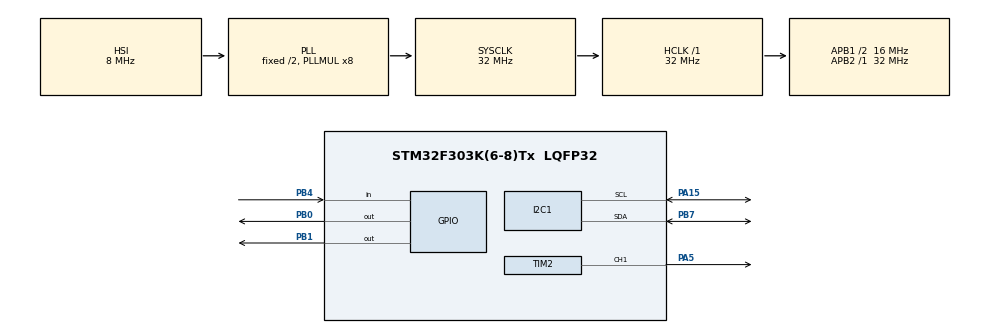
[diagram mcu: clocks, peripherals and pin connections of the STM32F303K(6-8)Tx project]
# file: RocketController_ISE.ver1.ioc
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Mcu.Family=STM32F3
Mcu.Name=STM32F303K(6-8)Tx
Mcu.Package=LQFP32
NVIC.PriorityGroup=NVIC_PRIORITYGROUP_4
PA0.Mode=SYS_WakeUp0
PA0.Signal=SYS_WKUP1
PA13.Mode=Trace_Asynchronous_SW
PA13.Signal=SYS_JTMS-SWDIO
PA14.Mode=Trace_Asynchronous_SW
PA14.Signal=SYS_JTCK-SWCLK
PA15.GPIO_Pu=GPIO_PULLUP
PA15.Mode=I2C
PA15.Signal=I2C1_SCL
PA5.Signal=S_TIM2_CH1_ETR
PB0.Signal=GPIO_Output
PB1.Signal=GPIO_Output
PB3.Mode=Trace_Asynchronous_SW
PB3.Signal=SYS_JTDO-TRACESWO
PB4.Signal=GPIO_Input
PB7.GPIO_Pu=GPIO_PULLUP
PB7.Mode=I2C
PB7.Signal=I2C1_SDA
ProjectManager.HeapSize=0x200
ProjectManager.StackSize=0x400
ProjectManager.TargetToolchain=STM32CubeIDE
RCC.AHBFreq_Value=32000000
RCC.APB1CLKDivider=RCC_HCLK_DIV2
RCC.APB1Freq_Value=16000000
RCC.APB1TimFreq_Value=32000000
RCC.APB2Freq_Value=32000000
RCC.APB2TimFreq_Value=32000000
RCC.CortexFreq_Value=32000000
RCC.HCLKFreq_Value=32000000
RCC.HSE_VALUE=8000000
RCC.HSI_VALUE=8000000
RCC.PLLMUL=RCC_PLL_MUL8
RCC.SYSCLKFreq_VALUE=32000000
RCC.SYSCLKSourceVirtual=RCC_SYSCLKSOURCE_PLLCLK
SH.S_TIM2_CH1_ETR.0=TIM2_CH1,PWM Generation1 CH1
TIM2.Channel-PWM\ Generation1\ CH1=TIM_CHANNEL_1
TIM2.Period=1048
TIM2.Prescaler=840
VP_TIM2_VS_ClockSourceINT.Mode=Internal
VP_TIM3_VS_ClockSourceINT.Mode=Internal
board=custom

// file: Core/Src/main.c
/* USER CODE BEGIN Header */
/**
  ******************************************************************************
  * @file           : main.c
  * @brief          : Main program body
  ******************************************************************************
  * @attention
  *
  * Copyright (c) 2024 STMicroelectronics.
  * All rights reserved.
  *
  * This software is licensed under terms that can be found in the LICENSE file
  * in the root directory of this software component.
  * If no LICENSE file comes with this software, it is provided AS-IS.
  *
  ******************************************************************************
  */
/* USER CODE END Header */
#include "main.h"

/* USER CODE BEGIN Includes */
#include "stdio.h"
#include <bmp180.h>
/* USER CODE END Includes */

/* USER CODE BEGIN PM */
#define SAMPLENUM 20

//key parameters
const float refHeightDelta = 10;
const int engineBurnTime = 6.6 * 1000;
const int topReachTime = 16 * 1000;

//motors
//const int closeAngle = 30;
const int openAngle = 35;

int mode =0;

//flightPin
int fpStateArray[SAMPLENUM];
int fpState = 0;

int startTime = 0;
int timeFromLaunch = 0;

//Hight
double SEALEVEL_ALTITUDE = 0;
double altitude = 0;
double filteredAltitude = 0;
double maxAltitude = -1000;
double altitudeArray[SAMPLENUM];

//debug
float A = 0.123;

/* USER CODE END PM */

I2C_HandleTypeDef hi2c1;

TIM_HandleTypeDef htim2;
TIM_HandleTypeDef htim3;

void SystemClock_Config(void);
static void MX_GPIO_Init(void);
static void MX_I2C1_Init(void);
static void MX_TIM2_Init(void);
static void MX_TIM3_Init(void);
/* USER CODE BEGIN PFP */

//judgment
int isLaunched(int FlighPinState);
int isTopReached(int time, double currentHeight, double maxHeight);

//servoMotor
void servoWrite(int angle);
void servoTest(int angleA, int angleB, int repeatNum);

void indicateMode(int _mode);

//fpfilter
void initializeFpStateArray(int FlightPinState);

//altitudefilter
void initializeAltitudeArray(double _altitude);
double getRawAltitude();
double getFilteredAltitude(double rawAltitude);

// Median
double calcMedian(void *array, int n, int type);

/* USER CODE END PFP */

int main(void)
{

  /* MCU Configuration--------------------------------------------------------*/

  /* Reset of all peripherals, Initializes the Flash interface and the Systick. */
  HAL_Init();

  /* Configure the system clock */
  SystemClock_Config();

  /* Initialize all configured peripherals */
  MX_GPIO_Init();
  MX_I2C1_Init();
  MX_TIM2_Init();
  MX_TIM3_Init();
  /* USER CODE BEGIN 2 */

  //ServoMotor
  HAL_TIM_PWM_Start(&htim2, TIM_CHANNEL_1);
  //servoTest(80,60,2);

  //bmp180
  int initBMP180 = bmpBegin(1, &hi2c1);

  	if (initBMP180 == 1) {
  		printf("successfully initialized BMP180\n");
  		HAL_Delay(20);
  		initializeAltitudeArray(getRawAltitude());
  		SEALEVEL_ALTITUDE = getFilteredAltitude(getRawAltitude());
  		initializeAltitudeArray(getRawAltitude() - SEALEVEL_ALTITUDE);

  	} else {
  		printf("initializing BMP180 failed\n");
  	}

  //fpState
  fpState = HAL_GPIO_ReadPin(GPIOB, GPIO_PIN_4);
  initializeFpStateArray(fpState);
  //servoWrite(closeAngle);

  //

  /* USER CODE END 2 */

  /* Infinite loop */
  while (1)
  {

    /* USER CODE BEGIN 3 */

	  //update Altitude

	  if (initBMP180) {
	  			altitude = getRawAltitude() - SEALEVEL_ALTITUDE;
	  			filteredAltitude = getFilteredAltitude(altitude);

	  			if (filteredAltitude > maxAltitude) {
	  				maxAltitude = filteredAltitude;
	  			}

	  			printf("rawAltiude= %f, fileteredAltitude = %f, maxAltitude = %f\n",
	  					altitude, filteredAltitude, maxAltitude);
	  		}

	  //update Flight Pin Value
	  		fpState = HAL_GPIO_ReadPin(GPIOB, GPIO_PIN_4);
	  		printf("mode = %d, FlightPin = %d\n", mode, fpState);

	  		//update LED state
	  		indicateMode(mode);

	  		if (mode != 0) {
	  			if (!isLaunched(fpState)) {
	  				mode = 0;
	  				//servoWrite(closeAngle);
	  			}
	  		}

	  		switch (mode) {
	  		//mode0: standby, mode1:launched, mode2: paraOpen, mode3: lowPower
	  		case 0:
	  			if (isLaunched(fpState)) {
	  				HAL_TIM_Base_Start_IT(&htim3);
	  				startTime = HAL_GetTick();
	  				printf("launched\n");
	  				mode++;
	  			}
	  			break;
	  		case 1:
	  			timeFromLaunch = HAL_GetTick() - startTime;
	  			printf("timeFromLaunch = %d\n", timeFromLaunch);

	  			if (isTopReached(timeFromLaunch, altitude, maxAltitude)) {
	  				servoWrite(openAngle);
	  				mode++;
	  			}
	  			break;
	  		case 2:
	  			if (timeFromLaunch > 100 * 60) {
	  				//servoWrite(closeAngle);
	  				printf("servoclose\n");
	  				//break;
	  			}
	  			break;
	  		}
	  	}
  /* USER CODE END 3 */
}

void SystemClock_Config(void)
{
  RCC_OscInitTypeDef RCC_OscInitStruct = {0};
  RCC_ClkInitTypeDef RCC_ClkInitStruct = {0};
  RCC_PeriphCLKInitTypeDef PeriphClkInit = {0};

  /** Initializes the RCC Oscillators according to the specified parameters
  * in the RCC_OscInitTypeDef structure.
  */
  RCC_OscInitStruct.OscillatorType = RCC_OSCILLATORTYPE_HSI;
  RCC_OscInitStruct.HSIState = RCC_HSI_ON;
  RCC_OscInitStruct.HSICalibrationValue = RCC_HSICALIBRATION_DEFAULT;
  RCC_OscInitStruct.PLL.PLLState = RCC_PLL_ON;
  RCC_OscInitStruct.PLL.PLLSource = RCC_PLLSOURCE_HSI;
  RCC_OscInitStruct.PLL.PLLMUL = RCC_PLL_MUL8;
  if (HAL_RCC_OscConfig(&RCC_OscInitStruct) != HAL_OK)
  {
    Error_Handler();
  }

  /** Initializes the CPU, AHB and APB buses clocks
  */
  RCC_ClkInitStruct.ClockType = RCC_CLOCKTYPE_HCLK|RCC_CLOCKTYPE_SYSCLK
                              |RCC_CLOCKTYPE_PCLK1|RCC_CLOCKTYPE_PCLK2;
  RCC_ClkInitStruct.SYSCLKSource = RCC_SYSCLKSOURCE_PLLCLK;
  RCC_ClkInitStruct.AHBCLKDivider = RCC_SYSCLK_DIV1;
  RCC_ClkInitStruct.APB1CLKDivider = RCC_HCLK_DIV2;
  RCC_ClkInitStruct.APB2CLKDivider = RCC_HCLK_DIV1;

  if (HAL_RCC_ClockConfig(&RCC_ClkInitStruct, FLASH_LATENCY_1) != HAL_OK)
  {
    Error_Handler();
  }
  PeriphClkInit.PeriphClockSelection = RCC_PERIPHCLK_I2C1;
  PeriphClkInit.I2c1ClockSelection = RCC_I2C1CLKSOURCE_HSI;
  if (HAL_RCCEx_PeriphCLKConfig(&PeriphClkInit) != HAL_OK)
  {
    Error_Handler();
  }
}

static void MX_I2C1_Init(void)
{

  hi2c1.Instance = I2C1;
  hi2c1.Init.Timing = 0x2000090E;
  hi2c1.Init.OwnAddress1 = 0;
  hi2c1.Init.AddressingMode = I2C_ADDRESSINGMODE_7BIT;
  hi2c1.Init.DualAddressMode = I2C_DUALADDRESS_DISABLE;
  hi2c1.Init.OwnAddress2 = 0;
  hi2c1.Init.OwnAddress2Masks = I2C_OA2_NOMASK;
  hi2c1.Init.GeneralCallMode = I2C_GENERALCALL_DISABLE;
  hi2c1.Init.NoStretchMode = I2C_NOSTRETCH_DISABLE;
  if (HAL_I2C_Init(&hi2c1) != HAL_OK)
  {
    Error_Handler();
  }

  /** Configure Analogue filter
  */
  if (HAL_I2CEx_ConfigAnalogFilter(&hi2c1, I2C_ANALOGFILTER_ENABLE) != HAL_OK)
  {
    Error_Handler();
  }

  /** Configure Digital filter
  */
  if (HAL_I2CEx_ConfigDigitalFilter(&hi2c1, 0) != HAL_OK)
  {
    Error_Handler();
  }

}

static void MX_TIM2_Init(void)
{

  TIM_ClockConfigTypeDef sClockSourceConfig = {0};
  TIM_MasterConfigTypeDef sMasterConfig = {0};
  TIM_OC_InitTypeDef sConfigOC = {0};

  htim2.Instance = TIM2;
  htim2.Init.Prescaler = 840;
  htim2.Init.CounterMode = TIM_COUNTERMODE_UP;
  htim2.Init.Period = 1048;
  htim2.Init.ClockDivision = TIM_CLOCKDIVISION_DIV1;
  htim2.Init.AutoReloadPreload = TIM_AUTORELOAD_PRELOAD_DISABLE;
  if (HAL_TIM_Base_Init(&htim2) != HAL_OK)
  {
    Error_Handler();
  }
  sClockSourceConfig.ClockSource = TIM_CLOCKSOURCE_INTERNAL;
  if (HAL_TIM_ConfigClockSource(&htim2, &sClockSourceConfig) != HAL_OK)
  {
    Error_Handler();
  }
  if (HAL_TIM_PWM_Init(&htim2) != HAL_OK)
  {
    Error_Handler();
  }
  sMasterConfig.MasterOutputTrigger = TIM_TRGO_RESET;
  sMasterConfig.MasterSlaveMode = TIM_MASTERSLAVEMODE_DISABLE;
  if (HAL_TIMEx_MasterConfigSynchronization(&htim2, &sMasterConfig) != HAL_OK)
  {
    Error_Handler();
  }
  sConfigOC.OCMode = TIM_OCMODE_PWM1;
  sConfigOC.Pulse = 0;
  sConfigOC.OCPolarity = TIM_OCPOLARITY_HIGH;
  sConfigOC.OCFastMode = TIM_OCFAST_DISABLE;
  if (HAL_TIM_PWM_ConfigChannel(&htim2, &sConfigOC, TIM_CHANNEL_1) != HAL_OK)
  {
    Error_Handler();
  }
  HAL_TIM_MspPostInit(&htim2);

}

static void MX_TIM3_Init(void)
{

  TIM_ClockConfigTypeDef sClockSourceConfig = {0};
  TIM_MasterConfigTypeDef sMasterConfig = {0};

  htim3.Instance = TIM3;
  htim3.Init.Prescaler = 0;
  htim3.Init.CounterMode = TIM_COUNTERMODE_UP;
  htim3.Init.Period = 65535;
  htim3.Init.ClockDivision = TIM_CLOCKDIVISION_DIV1;
  htim3.Init.AutoReloadPreload = TIM_AUTORELOAD_PRELOAD_DISABLE;
  if (HAL_TIM_Base_Init(&htim3) != HAL_OK)
  {
    Error_Handler();
  }
  sClockSourceConfig.ClockSource = TIM_CLOCKSOURCE_INTERNAL;
  if (HAL_TIM_ConfigClockSource(&htim3, &sClockSourceConfig) != HAL_OK)
  {
    Error_Handler();
  }
  sMasterConfig.MasterOutputTrigger = TIM_TRGO_RESET;
  sMasterConfig.MasterSlaveMode = TIM_MASTERSLAVEMODE_DISABLE;
  if (HAL_TIMEx_MasterConfigSynchronization(&htim3, &sMasterConfig) != HAL_OK)
  {
    Error_Handler();
  }

}

static void MX_GPIO_Init(void)
{
  GPIO_InitTypeDef GPIO_InitStruct = {0};

  /* GPIO Ports Clock Enable */
  __HAL_RCC_GPIOA_CLK_ENABLE();
  __HAL_RCC_GPIOB_CLK_ENABLE();

  /*Configure GPIO pin Output Level */
  HAL_GPIO_WritePin(GPIOB, GPIO_PIN_0|GPIO_PIN_1, GPIO_PIN_RESET);

  /*Configure GPIO pins : PB0 PB1 */
  GPIO_InitStruct.Pin = GPIO_PIN_0|GPIO_PIN_1;
  GPIO_InitStruct.Mode = GPIO_MODE_OUTPUT_PP;
  GPIO_InitStruct.Pull = GPIO_NOPULL;
  GPIO_InitStruct.Speed = GPIO_SPEED_FREQ_LOW;
  HAL_GPIO_Init(GPIOB, &GPIO_InitStruct);

  /*Configure GPIO pin : PB4 */
  GPIO_InitStruct.Pin = GPIO_PIN_4;
  GPIO_InitStruct.Mode = GPIO_MODE_INPUT;
  GPIO_InitStruct.Pull = GPIO_NOPULL;
  HAL_GPIO_Init(GPIOB, &GPIO_InitStruct);

}

/* USER CODE BEGIN 4 */

//printf
int _write(int file, char *ptr, int len)
{
  int DataIdx;
  for(DataIdx=0; DataIdx<len; DataIdx++)
  {
    ITM_SendChar(*ptr++);
  }
  return len;
}

//servo
void servoWrite(int angle) {
	// Calculate pulse value based on the angle
	int pulseValue = 25 + angle * (120 - 25) / 180;

	// Ensure pulseValue is within valid range
	if (pulseValue > 120) {
		pulseValue = 120;
	}

	// Set the pulse width using TIM2 and specified channel
	__HAL_TIM_SET_COMPARE(&htim2, TIM_CHANNEL_1, pulseValue);
}
void servoTest(int angleA, int angleB, int repeatNum) {
	for (int i = 0; i < repeatNum; i++) {
		HAL_Delay(2000);
		servoWrite(angleA); // 80
		HAL_Delay(2000);
		servoWrite(angleB); // 60
	}
}

//FpState

int isLaunched(int FlighPinState) {

	fpStateArray[0] = FlighPinState;

	for (int i = (SAMPLENUM - 1); i > 0; i--) {
		fpStateArray[i] = fpStateArray[i - 1];
	}

	if (calcMedian(fpStateArray, SAMPLENUM, 0) == 1) { //launched
		return 1;
	} else {
		return 0;
	}

}

int isTopReached(int time, double currentHeight, double maxHeight) {
	if (time > topReachTime) {
		return 1;
	}else if (maxHeight - currentHeight > refHeightDelta&& time > engineBurnTime) {
		return 1;
	} else {
		return 0;
	}
}

void initializeFpStateArray(int FlightPinState) {
	for (int i = 0; i < SAMPLENUM; i++) {
		fpStateArray[i] = FlightPinState;
	}
}

//Altitude

void initializeAltitudeArray(double _altitude) {
	for (int i = 0; i < SAMPLENUM; i++) {
		altitudeArray[i] = _altitude;
	}
}

double getRawAltitude() {
	double pressure = readBMPPressure();
	double temperature = readBMPTemperature();
	double _altitude = calculateAltitude(pressure, temperature);

	return _altitude;
}

double getFilteredAltitude(double rawAltitude) {
	altitudeArray[0] = rawAltitude;

	for (int i = (SAMPLENUM - 1); i > 0; i--) {
		altitudeArray[i] = altitudeArray[i - 1];
	}

	double filteredAltitude = calcMedian(altitudeArray, SAMPLENUM, 1);

	return filteredAltitude;
}

//Median
double calcMedian(void *array, int n, int type) {
	if (type == 0) { // If data type is int
		int *intArray = (int*) array;

		for (int i = 0; i < n; i++) {
			for (int j = i + 1; j < n; j++) {
				if (intArray[i] > intArray[j]) {
					int changer = intArray[j];
					intArray[j] = intArray[i];
					intArray[i] = changer;
				}
			}
		}

		if (n % 2 == 0) {
			return (double) (intArray[n / 2] + intArray[n / 2 - 1]) / 2;
		} else {
			return (double) intArray[n / 2];
		}
	} else if (type == 1) { // If data type is float
		double *doubleArray = (double*) array;

		for (int i = 0; i < n; i++) {
			for (int j = i + 1; j < n; j++) {
				if (doubleArray[i] > doubleArray[j]) {
					float changer = doubleArray[j];
					doubleArray[j] = doubleArray[i];
					doubleArray[i] = changer;
				}
			}
		}

		if (n % 2 == 0) {
			return (doubleArray[n / 2] + doubleArray[n / 2 - 1]) / 2;
		} else {
			return doubleArray[n / 2];
		}
	} else {
		// Error or unknown data type
		return 0.0;
	}
}

//ModeLed
void indicateMode(int _mode) {
	if (_mode == 0) {
		HAL_GPIO_WritePin(GPIOB, GPIO_PIN_0, GPIO_PIN_RESET);
		HAL_GPIO_WritePin(GPIOB, GPIO_PIN_1, GPIO_PIN_RESET);
	} else if (_mode == 1) {
		HAL_GPIO_WritePin(GPIOB, GPIO_PIN_0, GPIO_PIN_RESET);
		HAL_GPIO_WritePin(GPIOB, GPIO_PIN_1, GPIO_PIN_SET);
	} else if (_mode == 2) {
		HAL_GPIO_WritePin(GPIOB, GPIO_PIN_0, GPIO_PIN_SET);
		HAL_GPIO_WritePin(GPIOB, GPIO_PIN_1, GPIO_PIN_SET);
	}
}

/* USER CODE END 4 */

void Error_Handler(void)
{
  __disable_irq();
  while (1)
  {
  }
}
